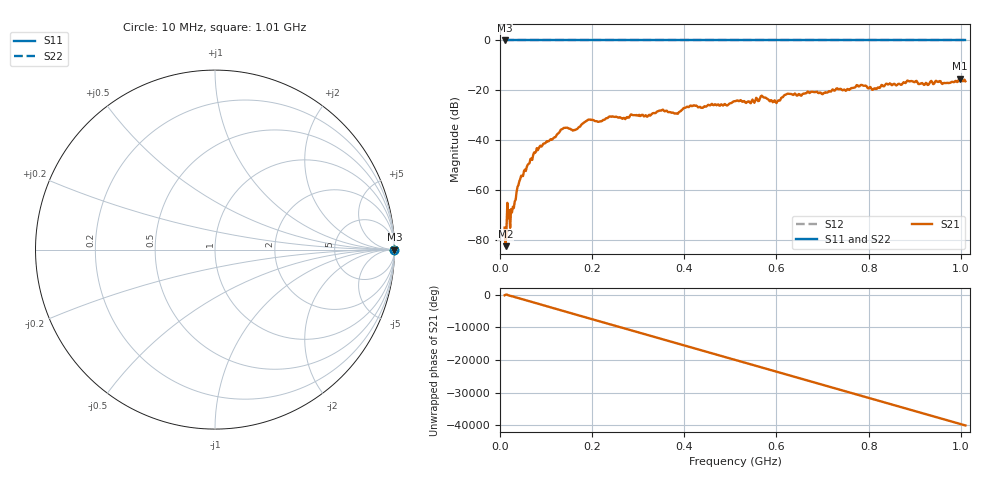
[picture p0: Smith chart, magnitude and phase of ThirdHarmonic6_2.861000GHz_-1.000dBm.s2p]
! 8/17/2025 7:47:31 AM
! C:\ANRITSUVNA\TEMP\TEMP.S2P
! CHANNEL.1
! TR.MEASUREMENT
! RAW.DATA
! RF.CORRECTION.OFF
! AVERAGING.OFF
! IF.BANDWIDTH: 5KHZ
! SWEEPTYPE:  FREQ.SWEEP(Linear)
! Reference Plane Port Info
! PORT:  PORT1  PORT2
! DISTANCE:  0  m  0  m
! TIME:  0  s  0  s
! PHASE.OFFSET:  0  deg.  0  deg.
! LOSS:  0  dB  0  dB
! REF.LOSS:  0  dB  0  dB
! REF.FREQ:  0  Hz  0  Hz
! Power Info
! POWER:  -20  dBm  -20  dBm
! EFF.POWER:  -20  dBm  -20  dBm
! SOURCE.ATTEN:  0  dB  0  dB
! TEST.ATTEN:  0  dB  0  dB
# GHZ S RI R 50.0
! FREQ.GHZ  S11RE  S11IM  S21RE  S21IM  S12RE  S12IM  S22RE  S22IM
!; PortSelection: Port_12
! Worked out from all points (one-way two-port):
!   501 points, 10 MHz to 1.01 GHz, reference 50 ohm
!   highest |S21| = -15.35 dB at 998 MHz (marker M1); lowest = -82.5 dB at 12 MHz (marker M2)
!   lowest |S11| = 0.0 dB at 10 MHz (marker M3)
!   |S11| at or under -10 dB: nowhere
!   |S22| runs from 0.0 to 0.0 dB; largest |S21 - S12| = 1.2
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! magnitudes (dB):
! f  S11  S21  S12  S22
! 10 MHz  0.0  -75.1  0.0  0.0
! 12 MHz  0.0  -82.5  0.0  0.0
! 20 MHz  0.0  -68.1  0.0  0.0
! 26 MHz  0.0  -69.0  0.0  0.0
! 42 MHz  0.0  -56.5  0.0  0.0
! 76 MHz  0.0  -45.1  0.0  0.0
! 136 MHz  0.0  -35.5  0.0  0.0
! 162 MHz  0.0  -36.0  0.0  0.0
! 178 MHz  0.0  -33.5  0.0  0.0
! 344 MHz  0.0  -28.3  0.0  0.0
! 382 MHz  0.0  -29.2  0.0  0.0
! 416 MHz  0.0  -26.4  0.0  0.0
! 510 MHz  0.0  -24.4  0.0  0.0
! 570 MHz  0.0  -22.5  0.0  0.0
! 596 MHz  0.0  -24.0  0.0  0.0
! 622 MHz  0.0  -21.5  0.0  0.0
! 678 MHz  0.0  -20.6  0.0  0.0
! 786 MHz  0.0  -17.9  0.0  0.0
! 812 MHz  0.0  -19.3  0.0  0.0
! 844 MHz  0.0  -17.5  0.0  0.0
! 998 MHz  0.0  -15.3  0.0  0.0
! 1.01 GHz  0.0  -16.4  0.0  0.0
